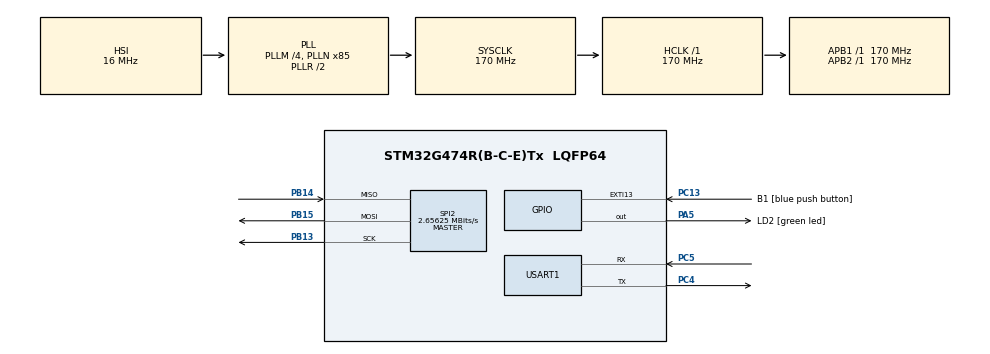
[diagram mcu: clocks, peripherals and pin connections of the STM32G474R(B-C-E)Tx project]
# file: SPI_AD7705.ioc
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Mcu.Family=STM32G4
Mcu.Name=STM32G474R(B-C-E)Tx
Mcu.Package=LQFP64
NVIC.EXTI15_10_IRQn=true\:0\:0\:false\:false\:true\:true\:true\:true
NVIC.PriorityGroup=NVIC_PRIORITYGROUP_4
PA13.GPIO_Label=T_SWDIO
PA13.Mode=Serial_Wire
PA13.Signal=SYS_JTMS-SWDIO
PA14.GPIO_Label=T_SWCLK
PA14.Mode=Serial_Wire
PA14.Signal=SYS_JTCK-SWCLK
PA2.GPIO_Label=LPUART1_TX [STLINKV3E_VCP_RX]
PA2.Signal=LPUART1_TX
PA3.GPIO_Label=LPUART1_RX [STLINKV3E_VCP_TX]
PA3.Signal=LPUART1_RX
PA5.GPIO_Label=LD2 [green led]
PA5.Signal=GPIO_Output
PB13.Mode=Full_Duplex_Master
PB13.Signal=SPI2_SCK
PB14.Mode=Full_Duplex_Master
PB14.Signal=SPI2_MISO
PB15.Mode=Full_Duplex_Master
PB15.Signal=SPI2_MOSI
PB3.GPIO_Label=T_SWO
PB3.Signal=SYS_JTDO-SWO
PC13.GPIO_Label=B1 [blue push button]
PC13.Signal=GPXTI13
PC14-OSC32_IN.GPIO_Label=RCC_OSC32_IN
PC14-OSC32_IN.Mode=LSE-External-Oscillator
PC14-OSC32_IN.Signal=RCC_OSC32_IN
PC15-OSC32_OUT.GPIO_Label=RCC_OSC32_OUT
PC15-OSC32_OUT.Mode=LSE-External-Oscillator
PC15-OSC32_OUT.Signal=RCC_OSC32_OUT
PC4.Mode=Asynchronous
PC4.Signal=USART1_TX
PC5.Mode=Asynchronous
PC5.Signal=USART1_RX
PF0-OSC_IN.GPIO_Label=RCC_OSC_IN
PF0-OSC_IN.Mode=HSE-External-Oscillator
PF0-OSC_IN.Signal=RCC_OSC_IN
PF1-OSC_OUT.GPIO_Label=RCC_OSC_OUT
PF1-OSC_OUT.Mode=HSE-External-Oscillator
PF1-OSC_OUT.Signal=RCC_OSC_OUT
ProjectManager.HeapSize=0x200
ProjectManager.StackSize=0x400
ProjectManager.TargetToolchain=CMake
RCC.ADC12Freq_Value=170000000
RCC.ADC345Freq_Value=170000000
RCC.AHBFreq_Value=170000000
RCC.APB1Freq_Value=170000000
RCC.APB1TimFreq_Value=170000000
RCC.APB2Freq_Value=170000000
RCC.APB2TimFreq_Value=170000000
RCC.CortexFreq_Value=170000000
RCC.EXTERNAL_CLOCK_VALUE=12288000
RCC.HCLKFreq_Value=170000000
RCC.HSE_VALUE=24000000
RCC.HSI48_VALUE=48000000
RCC.HSI_VALUE=16000000
RCC.PLLM=RCC_PLLM_DIV4
RCC.PLLN=85
RCC.RTCClockSelection=RCC_RTCCLKSOURCE_LSE
RCC.SYSCLKFreq_VALUE=170000000
RCC.SYSCLKSource=RCC_SYSCLKSOURCE_PLLCLK
RCC.USBFreq_Value=170000000
RCC.VCOOutputFreq_Value=340000000
SPI2.BaudRatePrescaler=SPI_BAUDRATEPRESCALER_64
SPI2.CalculateBaudRate=2.65625 MBits/s
SPI2.DataSize=SPI_DATASIZE_8BIT
SPI2.Direction=SPI_DIRECTION_2LINES
SPI2.Mode=SPI_MODE_MASTER
SPI2.NSSPMode=SPI_NSS_PULSE_DISABLE
SPI2.VirtualType=VM_MASTER
USART1.VirtualMode-Asynchronous=VM_ASYNC
VP_SYS_VS_DBSignals.Mode=DisableDeadBatterySignals
board=NUCLEO-G474RE

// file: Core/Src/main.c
/* USER CODE BEGIN Header */
/**
  ******************************************************************************
  * @file           : main.c
  * @brief          : Main program body
  ******************************************************************************
  * @attention
  *
  * Copyright (c) 2025 STMicroelectronics.
  * All rights reserved.
  *
  * This software is licensed under terms that can be found in the LICENSE file
  * in the root directory of this software component.
  * If no LICENSE file comes with this software, it is provided AS-IS.
  *
  ******************************************************************************
  */
/* USER CODE END Header */
#include "main.h"
#include "spi.h"
#include "usart.h"
#include "gpio.h"

/* USER CODE BEGIN Includes */
#include "AD7705.h"
#include "stdio.h"
#include "string.h"
/* USER CODE END Includes */

void SystemClock_Config(void);

int main(void)
{

  /* MCU Configuration--------------------------------------------------------*/

  /* Reset of all peripherals, Initializes the Flash interface and the Systick. */
  HAL_Init();

  /* Configure the system clock */
  SystemClock_Config();

  /* Initialize all configured peripherals */
  MX_GPIO_Init();
  MX_SPI2_Init();
  MX_USART1_UART_Init();
  /* USER CODE BEGIN 2 */
  AD7705_HandleTypeDef hadc1;

  // 配置AD7705
  hadc1.hspi = &hspi2;
  hadc1.cs_port = GPIOB;
  hadc1.cs_pin = GPIO_PIN_0;
  hadc1.drdy_port = GPIOC;
  hadc1.drdy_pin = GPIO_PIN_13;
  hadc1.reset_port = GPIOB;
  hadc1.reset_pin = GPIO_PIN_1;
  hadc1.vref = 3.3f; // 参考电压3.3V

  // 初始化AD7705
  AD7705_Init(&hadc1);

  char uartBuf[100];
  uint16_t adcValue1, adcValue2;
  float voltage1, voltage2;
  /* USER CODE END 2 */

  /* Infinite loop */
  /* USER CODE BEGIN WHILE */
  while (1)
  { // 读取通道1
    adcValue1 = AD7705_ReadData(&hadc1, AD7705_CH_AIN1);
    voltage1 = AD7705_ConvertToVoltage(&hadc1, adcValue1, AD7705_GAIN_1, AD7705_BIPOLAR);

    // 读取通道2
    adcValue2 = AD7705_ReadData(&hadc1, AD7705_CH_AIN2);
    voltage2 = AD7705_ConvertToVoltage(&hadc1, adcValue2, AD7705_GAIN_1, AD7705_BIPOLAR);

    // 通过串口发送数据
    sprintf(uartBuf, "CH1: %.3fV, CH2: %.3fV\r\n", voltage1, voltage2);
    HAL_UART_Transmit(&huart1, (uint8_t*)uartBuf, strlen(uartBuf), HAL_MAX_DELAY);

    // 10Hz刷新率
    HAL_Delay(100);
    /* USER CODE END WHILE */

  }
}

void SystemClock_Config(void)
{
  RCC_OscInitTypeDef RCC_OscInitStruct = {0};
  RCC_ClkInitTypeDef RCC_ClkInitStruct = {0};

  /** Configure the main internal regulator output voltage
  */
  HAL_PWREx_ControlVoltageScaling(PWR_REGULATOR_VOLTAGE_SCALE1_BOOST);

  /** Initializes the RCC Oscillators according to the specified parameters
  * in the RCC_OscInitTypeDef structure.
  */
  RCC_OscInitStruct.OscillatorType = RCC_OSCILLATORTYPE_HSI;
  RCC_OscInitStruct.HSIState = RCC_HSI_ON;
  RCC_OscInitStruct.HSICalibrationValue = RCC_HSICALIBRATION_DEFAULT;
  RCC_OscInitStruct.PLL.PLLState = RCC_PLL_ON;
  RCC_OscInitStruct.PLL.PLLSource = RCC_PLLSOURCE_HSI;
  RCC_OscInitStruct.PLL.PLLM = RCC_PLLM_DIV4;
  RCC_OscInitStruct.PLL.PLLN = 85;
  RCC_OscInitStruct.PLL.PLLP = RCC_PLLP_DIV2;
  RCC_OscInitStruct.PLL.PLLQ = RCC_PLLQ_DIV2;
  RCC_OscInitStruct.PLL.PLLR = RCC_PLLR_DIV2;
  if (HAL_RCC_OscConfig(&RCC_OscInitStruct) != HAL_OK)
  {
    Error_Handler();
  }

  /** Initializes the CPU, AHB and APB buses clocks
  */
  RCC_ClkInitStruct.ClockType = RCC_CLOCKTYPE_HCLK|RCC_CLOCKTYPE_SYSCLK
                              |RCC_CLOCKTYPE_PCLK1|RCC_CLOCKTYPE_PCLK2;
  RCC_ClkInitStruct.SYSCLKSource = RCC_SYSCLKSOURCE_PLLCLK;
  RCC_ClkInitStruct.AHBCLKDivider = RCC_SYSCLK_DIV1;
  RCC_ClkInitStruct.APB1CLKDivider = RCC_HCLK_DIV1;
  RCC_ClkInitStruct.APB2CLKDivider = RCC_HCLK_DIV1;

  if (HAL_RCC_ClockConfig(&RCC_ClkInitStruct, FLASH_LATENCY_4) != HAL_OK)
  {
    Error_Handler();
  }
}

void Error_Handler(void)
{
  __disable_irq();
  while (1)
  {
  }
}
